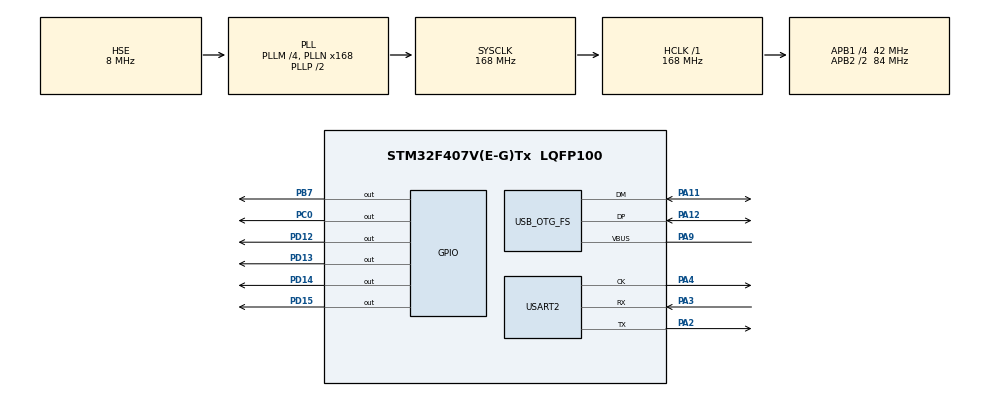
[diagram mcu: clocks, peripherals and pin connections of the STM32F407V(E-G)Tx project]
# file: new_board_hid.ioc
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Dma.Request0=USART2_TX
Dma.USART2_TX.0.Direction=DMA_MEMORY_TO_PERIPH
Dma.USART2_TX.0.FIFOMode=DMA_FIFOMODE_DISABLE
Dma.USART2_TX.0.Instance=DMA1_Stream6
Dma.USART2_TX.0.MemDataAlignment=DMA_MDATAALIGN_BYTE
Dma.USART2_TX.0.MemInc=DMA_MINC_ENABLE
Dma.USART2_TX.0.Mode=DMA_NORMAL
Dma.USART2_TX.0.PeriphDataAlignment=DMA_PDATAALIGN_BYTE
Dma.USART2_TX.0.PeriphInc=DMA_PINC_DISABLE
Dma.USART2_TX.0.Priority=DMA_PRIORITY_LOW
Mcu.Family=STM32F4
Mcu.Name=STM32F407V(E-G)Tx
Mcu.Package=LQFP100
NVIC.DMA1_Stream6_IRQn=true\:0\:0\:false\:false\:true\:false\:true\:true
NVIC.OTG_FS_IRQn=true\:0\:0\:false\:false\:true\:false\:true\:true
NVIC.PriorityGroup=NVIC_PRIORITYGROUP_4
PA11.Mode=Host_Only
PA11.Signal=USB_OTG_FS_DM
PA12.Mode=Host_Only
PA12.Signal=USB_OTG_FS_DP
PA2.Mode=Synchronous
PA2.Signal=USART2_TX
PA3.Mode=Synchronous
PA3.Signal=USART2_RX
PA4.Mode=Synchronous
PA4.Signal=USART2_CK
PA9.Mode=Activate_VBUS
PA9.Signal=USB_OTG_FS_VBUS
PB7.Signal=GPIO_Output
PC0.Signal=GPIO_Output
PD12.Signal=GPIO_Output
PD13.Signal=GPIO_Output
PD14.Signal=GPIO_Output
PD15.Signal=GPIO_Output
PH0-OSC_IN.Mode=HSE-External-Oscillator
PH0-OSC_IN.Signal=RCC_OSC_IN
PH1-OSC_OUT.Mode=HSE-External-Oscillator
PH1-OSC_OUT.Signal=RCC_OSC_OUT
ProjectManager.HeapSize=0x200
ProjectManager.StackSize=0x400
ProjectManager.TargetToolchain=STM32CubeIDE
RCC.48MHZClocksFreq_Value=48000000
RCC.AHBFreq_Value=168000000
RCC.APB1CLKDivider=RCC_HCLK_DIV4
RCC.APB1Freq_Value=42000000
RCC.APB1TimFreq_Value=84000000
RCC.APB2CLKDivider=RCC_HCLK_DIV2
RCC.APB2Freq_Value=84000000
RCC.APB2TimFreq_Value=168000000
RCC.CortexFreq_Value=168000000
RCC.HCLKFreq_Value=168000000
RCC.HSE_VALUE=8000000
RCC.HSI_VALUE=16000000
RCC.LSE_VALUE=32768
RCC.PLLM=4
RCC.PLLN=168
RCC.PLLQ=7
RCC.SYSCLKFreq_VALUE=168000000
RCC.SYSCLKSource=RCC_SYSCLKSOURCE_PLLCLK
RCC.VCOOutputFreq_Value=336000000
USART2.VirtualMode=VM_SYNC
USB_HOST.BSP.number=1
USB_HOST.USBH_HandleTypeDef-HID_FS=hUsbHostFS
USB_HOST.VirtualModeFS=Hid
USB_HOST0.BSP.STBoard=false
USB_HOST0.BSP.api=Unknown
USB_HOST0.BSP.instance=PC0
USB_HOST0.BSP.ip=GPIO
USB_HOST0.BSP.mode=Output
USB_HOST0.BSP.name=Drive_VBUS_FS
USB_HOST0.BSP.solution=PC0
USB_OTG_FS.VirtualMode=Host_Only
USB_OTG_FS.phy_itface=HCD_PHY_EMBEDDED
VP_USB_HOST_VS_USB_HOST_HID_FS.Mode=HID_FS
board=custom

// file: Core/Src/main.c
/* USER CODE BEGIN Header */
/**
  ******************************************************************************
  * @file           : main.c
  * @brief          : Main program body
  ******************************************************************************
  * @attention
  *
  * Copyright (c) 2022 STMicroelectronics.
  * All rights reserved.
  *
  * This software is licensed under terms that can be found in the LICENSE file
  * in the root directory of this software component.
  * If no LICENSE file comes with this software, it is provided AS-IS.
  *
  ******************************************************************************
  */
/* USER CODE END Header */
#include "main.h"
#include "usb_host.h"

/* USER CODE BEGIN Includes */
#include "usbh_hid.h"
/* USER CODE END Includes */

USART_HandleTypeDef husart2;
DMA_HandleTypeDef hdma_usart2_tx;

void SystemClock_Config(void);
static void MX_GPIO_Init(void);
static void MX_DMA_Init(void);
static void MX_USART2_Init(void);
void MX_USB_HOST_Process(void);

/* USER CODE BEGIN 0 */
uint8_t keypress[7];
uint8_t keypressflag=0;
HID_KEYBD_Info_TypeDef *keyboard;

void USBH_HID_EventCallback(USBH_HandleTypeDef *phost){

	keyboard = USBH_HID_GetKeybdInfo(phost);
	/*
	keypress[keycount] = USBH_HID_GetASCIICode(keyboard);
	keycount++;
	 */
	keypressflag=1;
}

void HAL_USART_TxCpltCallback(USART_HandleTypeDef *husart){
	keypressflag=0;

}
/* USER CODE END 0 */

int main(void)
{

  /* MCU Configuration--------------------------------------------------------*/

  /* Reset of all peripherals, Initializes the Flash interface and the Systick. */
  HAL_Init();

  /* Configure the system clock */
  SystemClock_Config();

  /* Initialize all configured peripherals */
  MX_GPIO_Init();
  MX_DMA_Init();
  MX_USB_HOST_Init();
  MX_USART2_Init();

  /* Infinite loop */
  while (1)
  {
    MX_USB_HOST_Process();

    /* USER CODE BEGIN 3 */
    if (keypressflag==1){
    	int j=1;
    	keypress[0]=(keyboard->lshift | keyboard->lalt | keyboard->lctrl | keyboard->lgui | keyboard->ralt | keyboard->rctrl | keyboard->rgui | keyboard->rshift);
    	for (int i=0; i<6; i++){
    		keypress[j]=keyboard->keys[i];
    		j++;
    	}
    	HAL_USART_Transmit_DMA(&husart2, keypress, 7);
    }

  }
  /* USER CODE END 3 */
}

void SystemClock_Config(void)
{
  RCC_OscInitTypeDef RCC_OscInitStruct = {0};
  RCC_ClkInitTypeDef RCC_ClkInitStruct = {0};

  /** Configure the main internal regulator output voltage
  */
  __HAL_RCC_PWR_CLK_ENABLE();
  __HAL_PWR_VOLTAGESCALING_CONFIG(PWR_REGULATOR_VOLTAGE_SCALE1);

  /** Initializes the RCC Oscillators according to the specified parameters
  * in the RCC_OscInitTypeDef structure.
  */
  RCC_OscInitStruct.OscillatorType = RCC_OSCILLATORTYPE_HSE;
  RCC_OscInitStruct.HSEState = RCC_HSE_ON;
  RCC_OscInitStruct.PLL.PLLState = RCC_PLL_ON;
  RCC_OscInitStruct.PLL.PLLSource = RCC_PLLSOURCE_HSE;
  RCC_OscInitStruct.PLL.PLLM = 4;
  RCC_OscInitStruct.PLL.PLLN = 168;
  RCC_OscInitStruct.PLL.PLLP = RCC_PLLP_DIV2;
  RCC_OscInitStruct.PLL.PLLQ = 7;
  if (HAL_RCC_OscConfig(&RCC_OscInitStruct) != HAL_OK)
  {
    Error_Handler();
  }

  /** Initializes the CPU, AHB and APB buses clocks
  */
  RCC_ClkInitStruct.ClockType = RCC_CLOCKTYPE_HCLK|RCC_CLOCKTYPE_SYSCLK
                              |RCC_CLOCKTYPE_PCLK1|RCC_CLOCKTYPE_PCLK2;
  RCC_ClkInitStruct.SYSCLKSource = RCC_SYSCLKSOURCE_PLLCLK;
  RCC_ClkInitStruct.AHBCLKDivider = RCC_SYSCLK_DIV1;
  RCC_ClkInitStruct.APB1CLKDivider = RCC_HCLK_DIV4;
  RCC_ClkInitStruct.APB2CLKDivider = RCC_HCLK_DIV2;

  if (HAL_RCC_ClockConfig(&RCC_ClkInitStruct, FLASH_LATENCY_5) != HAL_OK)
  {
    Error_Handler();
  }
}

static void MX_USART2_Init(void)
{

  husart2.Instance = USART2;
  husart2.Init.BaudRate = 115200;
  husart2.Init.WordLength = USART_WORDLENGTH_8B;
  husart2.Init.StopBits = USART_STOPBITS_1;
  husart2.Init.Parity = USART_PARITY_NONE;
  husart2.Init.Mode = USART_MODE_TX_RX;
  husart2.Init.CLKPolarity = USART_POLARITY_LOW;
  husart2.Init.CLKPhase = USART_PHASE_1EDGE;
  husart2.Init.CLKLastBit = USART_LASTBIT_DISABLE;
  if (HAL_USART_Init(&husart2) != HAL_OK)
  {
    Error_Handler();
  }

}

static void MX_DMA_Init(void)
{

  /* DMA controller clock enable */
  __HAL_RCC_DMA1_CLK_ENABLE();

  /* DMA interrupt init */
  /* DMA1_Stream6_IRQn interrupt configuration */
  HAL_NVIC_SetPriority(DMA1_Stream6_IRQn, 0, 0);
  HAL_NVIC_EnableIRQ(DMA1_Stream6_IRQn);

}

static void MX_GPIO_Init(void)
{
  GPIO_InitTypeDef GPIO_InitStruct = {0};

  /* GPIO Ports Clock Enable */
  __HAL_RCC_GPIOH_CLK_ENABLE();
  __HAL_RCC_GPIOC_CLK_ENABLE();
  __HAL_RCC_GPIOA_CLK_ENABLE();
  __HAL_RCC_GPIOD_CLK_ENABLE();
  __HAL_RCC_GPIOB_CLK_ENABLE();

  /*Configure GPIO pin Output Level */
  HAL_GPIO_WritePin(GPIOC, GPIO_PIN_0, GPIO_PIN_RESET);

  /*Configure GPIO pin Output Level */
  HAL_GPIO_WritePin(GPIOD, GPIO_PIN_12|GPIO_PIN_13|GPIO_PIN_14|GPIO_PIN_15, GPIO_PIN_RESET);

  /*Configure GPIO pin Output Level */
  HAL_GPIO_WritePin(GPIOB, GPIO_PIN_7, GPIO_PIN_RESET);

  /*Configure GPIO pin : PC0 */
  GPIO_InitStruct.Pin = GPIO_PIN_0;
  GPIO_InitStruct.Mode = GPIO_MODE_OUTPUT_PP;
  GPIO_InitStruct.Pull = GPIO_NOPULL;
  GPIO_InitStruct.Speed = GPIO_SPEED_FREQ_LOW;
  HAL_GPIO_Init(GPIOC, &GPIO_InitStruct);

  /*Configure GPIO pins : PD12 PD13 PD14 PD15 */
  GPIO_InitStruct.Pin = GPIO_PIN_12|GPIO_PIN_13|GPIO_PIN_14|GPIO_PIN_15;
  GPIO_InitStruct.Mode = GPIO_MODE_OUTPUT_PP;
  GPIO_InitStruct.Pull = GPIO_NOPULL;
  GPIO_InitStruct.Speed = GPIO_SPEED_FREQ_LOW;
  HAL_GPIO_Init(GPIOD, &GPIO_InitStruct);

  /*Configure GPIO pin : PB7 */
  GPIO_InitStruct.Pin = GPIO_PIN_7;
  GPIO_InitStruct.Mode = GPIO_MODE_OUTPUT_PP;
  GPIO_InitStruct.Pull = GPIO_NOPULL;
  GPIO_InitStruct.Speed = GPIO_SPEED_FREQ_LOW;
  HAL_GPIO_Init(GPIOB, &GPIO_InitStruct);

}

void Error_Handler(void)
{
  __disable_irq();
  while (1)
  {
  }
}
